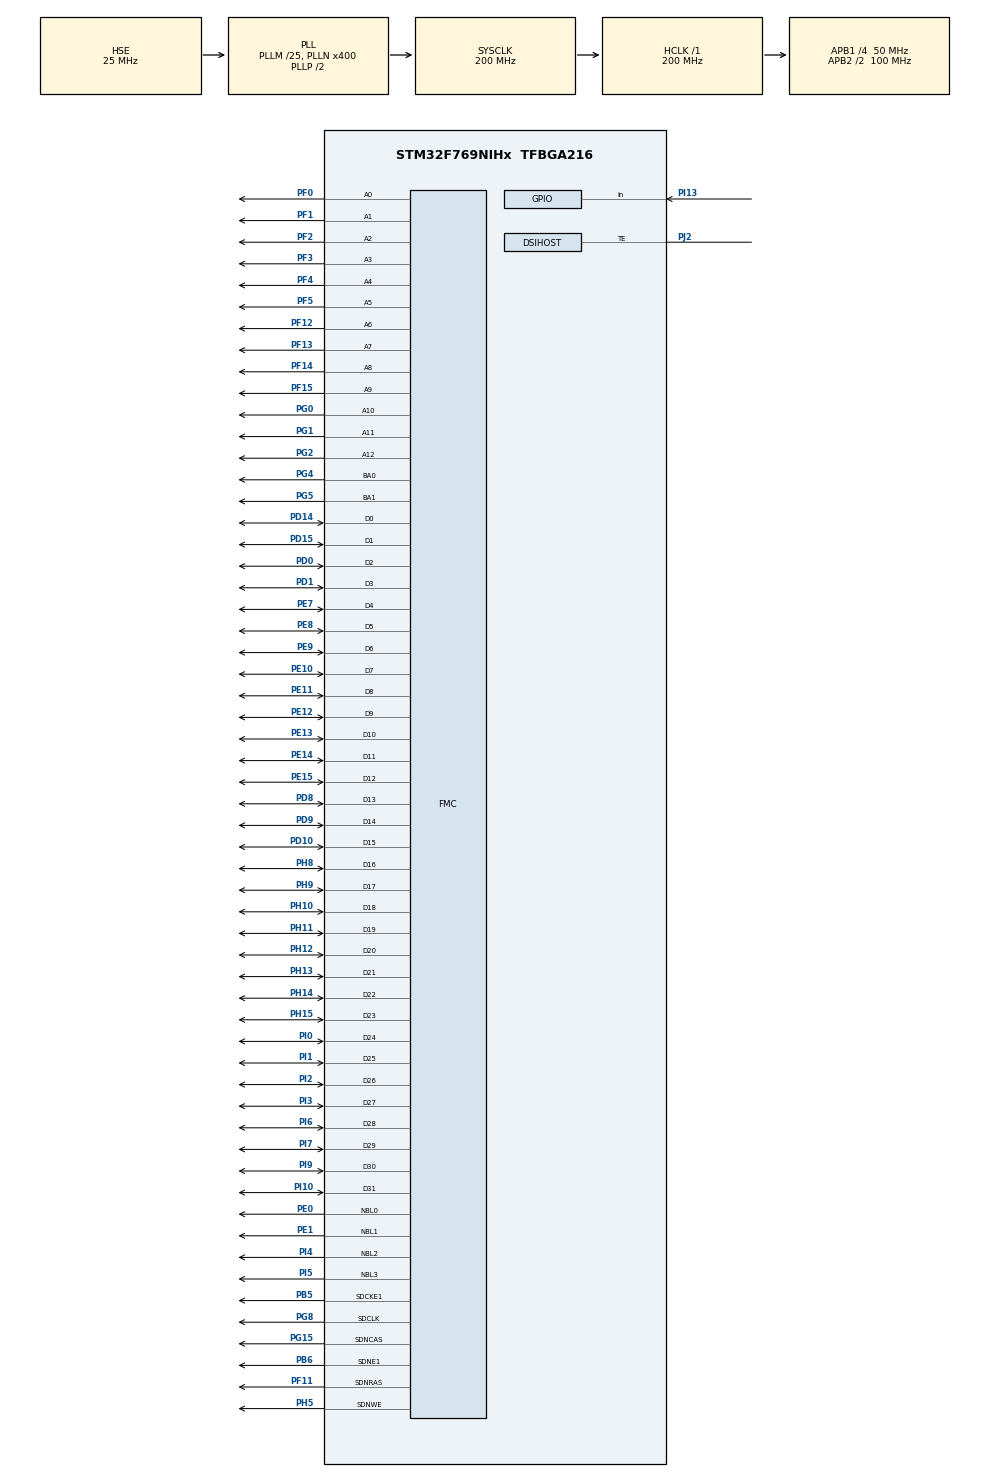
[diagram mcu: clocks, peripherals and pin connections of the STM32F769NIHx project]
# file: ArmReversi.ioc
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ADC1.Channel-0\#ChannelRegularConversion=ADC_CHANNEL_TEMPSENSOR
ADC1.ContinuousConvMode=ENABLE
ADC1.EOCSelection=ADC_EOC_SEQ_CONV
ADC1.NbrOfConversionFlag=1
ADC1.Rank-0\#ChannelRegularConversion=1
ADC1.SamplingTime-0\#ChannelRegularConversion=ADC_SAMPLETIME_56CYCLES
ADC1.master=1
CORTEX_M7.CPU_DCache=Enabled
CORTEX_M7.CPU_ICache=Enabled
DSIHOST_CKN.Mode=DSIHost_Adapted_TE
DSIHOST_CKN.Signal=DSIHOST_CKN
DSIHOST_CKP.Mode=DSIHost_Adapted_TE
DSIHOST_CKP.Signal=DSIHOST_CKP
DSIHOST_D0N.Mode=DSIHost_Adapted_TE
DSIHOST_D0N.Signal=DSIHOST_D0N
DSIHOST_D0P.Mode=DSIHost_Adapted_TE
DSIHOST_D0P.Signal=DSIHOST_D0P
DSIHOST_D1N.Mode=DSIHost_Adapted_TE
DSIHOST_D1N.Signal=DSIHOST_D1N
DSIHOST_D1P.Mode=DSIHost_Adapted_TE
DSIHOST_D1P.Signal=DSIHOST_D1P
Mcu.Family=STM32F7
Mcu.Name=STM32F769NIHx
Mcu.Package=TFBGA216
NVIC.PriorityGroup=NVIC_PRIORITYGROUP_4
NVIC.TIM6_DAC_IRQn=true\:0\:0\:false\:false\:true\:true\:true
PB5.Mode=SdramChipSelect2_1
PB5.Signal=FMC_SDCKE1
PB6.Mode=SdramChipSelect2_1
PB6.Signal=FMC_SDNE1
PD0.Signal=FMC_D2_DA2
PD1.Signal=FMC_D3_DA3
PD10.Signal=FMC_D15_DA15
PD14.Signal=FMC_D0_DA0
PD15.Signal=FMC_D1_DA1
PD8.Signal=FMC_D13_DA13
PD9.Signal=FMC_D14_DA14
PE0.Signal=FMC_NBL0
PE1.Signal=FMC_NBL1
PE10.Signal=FMC_D7_DA7
PE11.Signal=FMC_D8_DA8
PE12.Signal=FMC_D9_DA9
PE13.Signal=FMC_D10_DA10
PE14.Signal=FMC_D11_DA11
PE15.Signal=FMC_D12_DA12
PE7.Signal=FMC_D4_DA4
PE8.Signal=FMC_D5_DA5
PE9.Signal=FMC_D6_DA6
PF0.Signal=FMC_A0
PF1.Signal=FMC_A1
PF11.Signal=FMC_SDNRAS
PF12.Signal=FMC_A6
PF13.Signal=FMC_A7
PF14.Signal=FMC_A8
PF15.Signal=FMC_A9
PF2.Signal=FMC_A2
PF3.Signal=FMC_A3
PF4.Signal=FMC_A4
PF5.Signal=FMC_A5
PG0.Signal=FMC_A10
PG1.Signal=FMC_A11
PG15.Signal=FMC_SDNCAS
PG2.Signal=FMC_A12
PG4.Signal=FMC_A14_BA0
PG5.Signal=FMC_A15_BA1
PG8.Signal=FMC_SDCLK
PH0/OSC_IN.Mode=HSE-External-Oscillator
PH0/OSC_IN.Signal=RCC_OSC_IN
PH1/OSC_OUT.Mode=HSE-External-Oscillator
PH1/OSC_OUT.Signal=RCC_OSC_OUT
PH10.Signal=FMC_D18
PH11.Signal=FMC_D19
PH12.Signal=FMC_D20
PH13.Signal=FMC_D21
PH14.Signal=FMC_D22
PH15.Signal=FMC_D23
PH5.Signal=FMC_SDNWE
PH8.Signal=FMC_D16
PH9.Signal=FMC_D17
PI0.Signal=FMC_D24
PI1.Signal=FMC_D25
PI10.Signal=FMC_D31
PI13.Signal=GPIO_Input
PI2.Signal=FMC_D26
PI3.Signal=FMC_D27
PI4.Signal=FMC_NBL2
PI5.Signal=FMC_NBL3
PI6.Signal=FMC_D28
PI7.Signal=FMC_D29
PI9.Signal=FMC_D30
PJ2.Mode=DSIHost_Adapted_TE
PJ2.Signal=DSIHOST_TE
ProjectManager.HeapSize=0x200
ProjectManager.StackSize=0x400
ProjectManager.TargetToolchain=STM32CubeIDE
RCC.AHBFreq_Value=200000000
RCC.APB1CLKDivider=RCC_HCLK_DIV4
RCC.APB1Freq_Value=50000000
RCC.APB1TimFreq_Value=100000000
RCC.APB2CLKDivider=RCC_HCLK_DIV2
RCC.APB2Freq_Value=100000000
RCC.APB2TimFreq_Value=200000000
RCC.CortexFreq_Value=200000000
RCC.HCLKFreq_Value=200000000
RCC.HSE_VALUE=25000000
RCC.HSI_VALUE=16000000
RCC.LSE_VALUE=32768
RCC.PLLI2SN=96
RCC.PLLM=25
RCC.PLLN=400
RCC.PLLR=7
RCC.PLLSourceVirtual=RCC_PLLSOURCE_HSE
RCC.SYSCLKFreq_VALUE=200000000
RCC.SYSCLKSource=RCC_SYSCLKSOURCE_PLLCLK
RCC.USBFreq_Value=200000000
RCC.VCOOutputFreq_Value=400000000
SH.FMC_A0.0=FMC_A0,13b-sda1
SH.FMC_A1.0=FMC_A1,13b-sda1
SH.FMC_A10.0=FMC_A10,13b-sda1
SH.FMC_A11.0=FMC_A11,13b-sda1
SH.FMC_A12.0=FMC_A12,13b-sda1
SH.FMC_A14_BA0.0=FMC_BA0,FourSdramBanks1
SH.FMC_A15_BA1.0=FMC_BA1,FourSdramBanks1
SH.FMC_A2.0=FMC_A2,13b-sda1
SH.FMC_A3.0=FMC_A3,13b-sda1
SH.FMC_A4.0=FMC_A4,13b-sda1
SH.FMC_A5.0=FMC_A5,13b-sda1
SH.FMC_A6.0=FMC_A6,13b-sda1
SH.FMC_A7.0=FMC_A7,13b-sda1
SH.FMC_A8.0=FMC_A8,13b-sda1
SH.FMC_A9.0=FMC_A9,13b-sda1
SH.FMC_D0_DA0.0=FMC_D0,sd-32b-d1
SH.FMC_D10_DA10.0=FMC_D10,sd-32b-d1
SH.FMC_D11_DA11.0=FMC_D11,sd-32b-d1
SH.FMC_D12_DA12.0=FMC_D12,sd-32b-d1
SH.FMC_D13_DA13.0=FMC_D13,sd-32b-d1
SH.FMC_D14_DA14.0=FMC_D14,sd-32b-d1
SH.FMC_D15_DA15.0=FMC_D15,sd-32b-d1
SH.FMC_D16.0=FMC_D16,sd-32b-d1
SH.FMC_D17.0=FMC_D17,sd-32b-d1
SH.FMC_D18.0=FMC_D18,sd-32b-d1
SH.FMC_D19.0=FMC_D19,sd-32b-d1
SH.FMC_D1_DA1.0=FMC_D1,sd-32b-d1
SH.FMC_D20.0=FMC_D20,sd-32b-d1
SH.FMC_D21.0=FMC_D21,sd-32b-d1
SH.FMC_D22.0=FMC_D22,sd-32b-d1
SH.FMC_D23.0=FMC_D23,sd-32b-d1
SH.FMC_D24.0=FMC_D24,sd-32b-d1
SH.FMC_D25.0=FMC_D25,sd-32b-d1
SH.FMC_D26.0=FMC_D26,sd-32b-d1
SH.FMC_D27.0=FMC_D27,sd-32b-d1
SH.FMC_D28.0=FMC_D28,sd-32b-d1
SH.FMC_D29.0=FMC_D29,sd-32b-d1
SH.FMC_D2_DA2.0=FMC_D2,sd-32b-d1
SH.FMC_D30.0=FMC_D30,sd-32b-d1
SH.FMC_D31.0=FMC_D31,sd-32b-d1
SH.FMC_D3_DA3.0=FMC_D3,sd-32b-d1
SH.FMC_D4_DA4.0=FMC_D4,sd-32b-d1
SH.FMC_D5_DA5.0=FMC_D5,sd-32b-d1
SH.FMC_D6_DA6.0=FMC_D6,sd-32b-d1
SH.FMC_D7_DA7.0=FMC_D7,sd-32b-d1
SH.FMC_D8_DA8.0=FMC_D8,sd-32b-d1
SH.FMC_D9_DA9.0=FMC_D9,sd-32b-d1
SH.FMC_NBL0.0=FMC_NBL0,Sd4ByteEnable1
SH.FMC_NBL1.0=FMC_NBL1,Sd4ByteEnable1
SH.FMC_NBL2.0=FMC_NBL2,Sd4ByteEnable1
SH.FMC_NBL3.0=FMC_NBL3,Sd4ByteEnable1
SH.FMC_SDCLK.0=FMC_SDCLK,13b-sda1
SH.FMC_SDNCAS.0=FMC_SDNCAS,13b-sda1
SH.FMC_SDNRAS.0=FMC_SDNRAS,13b-sda1
SH.FMC_SDNWE.0=FMC_SDNWE,13b-sda1
TIM6.Period=9999
TIM6.Prescaler=9999
VP_ADC1_TempSens_Input.Mode=IN-TempSens
VP_DMA2D_VS_DMA2D.Mode=DMA2D_Activate
VP_LTDC_DSIMode.Mode=RGB888
VP_TIM6_VS_ClockSourceINT.Mode=Enable_Timer
board=STM32F769I-DISC1

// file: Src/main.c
/* USER CODE BEGIN Header */
/**
  ******************************************************************************
  * @file           : main.c
  * @brief          : Main program body
  ******************************************************************************
  * @attention
  *
  * <h2><center>&copy; Copyright (c) 2019 STMicroelectronics.
  * All rights reserved.</center></h2>
  *
  * This software component is licensed by ST under BSD 3-Clause license,
  * the "License"; You may not use this file except in compliance with the
  * License. You may obtain a copy of the License at:
  *                        opensource.org/licenses/BSD-3-Clause
  *
  ******************************************************************************
  */
/* USER CODE END Header */

#include "main.h"

/* USER CODE BEGIN Includes */
#include <stdio.h>
#include "stm32f769i_discovery.h"
#include "stm32f769i_discovery_lcd.h"
#include "stm32f769i_discovery_ts.h"
#include "stdbool.h"
/* USER CODE END Includes */

/* USER CODE BEGIN PD */
#define MAX_CONVERTED_VALUE   4095    /* Max converted value */
#define AMBIENT_TEMP            25    /* Ambient Temperature */
#define VSENS_AT_AMBIENT_TEMP  760    /* VSENSE value (mv) at ambient temperature */
#define AVG_SLOPE               25    /* Avg_Solpe multiply by 10 */
#define VREF                  3300
/* USER CODE END PD */

ADC_HandleTypeDef hadc1;

DMA2D_HandleTypeDef hdma2d;

DSI_HandleTypeDef hdsi;

LTDC_HandleTypeDef hltdc;

TIM_HandleTypeDef htim6;

SDRAM_HandleTypeDef hsdram1;

/* USER CODE BEGIN PV */
volatile uint8_t flag = 0;
volatile uint8_t counter = 0;
long int JTemp = 0;
char string[100];
uint32_t ConvertedValue;
/* USER CODE END PV */

void SystemClock_Config(void);
static void MX_GPIO_Init(void);
static void MX_ADC1_Init(void);
static void MX_DMA2D_Init(void);
static void MX_DSIHOST_DSI_Init(void);
static void MX_FMC_Init(void);
static void MX_LTDC_Init(void);
static void MX_TIM6_Init(void);
/* USER CODE BEGIN PFP */
static void LCD_Config();
/* USER CODE END PFP */

/* USER CODE BEGIN 0 */
void HAL_TIM_PeriodElapsedCallback (TIM_HandleTypeDef *htim)
{
	if(htim->Instance == TIM6)
	{
		flag = 1;
		counter++;

		  if (counter%2 == 0)
		  {
			  ConvertedValue=HAL_ADC_GetValue(&hadc1); //get value
			  JTemp = ((((ConvertedValue * VREF)/MAX_CONVERTED_VALUE) - VSENS_AT_AMBIENT_TEMP) * 10 / AVG_SLOPE) + AMBIENT_TEMP;
		  }
	}
}

void printBoardGame()
{
	  BSP_LCD_SetTextColor(LCD_COLOR_WHITE);
	  BSP_LCD_FillRect(BSP_LCD_GetXSize()/10, BSP_LCD_GetYSize()/10, 400, 400);
	  BSP_LCD_SetTextColor(0x800080);

	  for(int i = 0; i<=8; i++)
	  {
		  BSP_LCD_DrawVLine(BSP_LCD_GetXSize()/2.10 + (BSP_LCD_GetXSize()/16)*i, BSP_LCD_GetYSize()/10, 400);
	  }
	  for(int j = 0; j<=8; j++){
		  BSP_LCD_DrawHLine(BSP_LCD_GetXSize()/2.10, BSP_LCD_GetYSize()/10 + (BSP_LCD_GetYSize()/9.6)*j, 400);
	  }
	  //BSP_LCD_SetTextColor(LCD_COLOR_BLACK);
}

void printScoreTable()
{
	   BSP_LCD_DrawVLine(10, 50, 375);
	   BSP_LCD_DrawHLine(10, 50, 350);
	   BSP_LCD_DrawHLine(10, 85, 350);
	   BSP_LCD_DrawHLine(10, 425, 350);
	   BSP_LCD_DrawVLine(360, 50, 375);
	   BSP_LCD_SetTextColor(LCD_COLOR_DARKBLUE);

	   sprintf(string, "Game Info");
	   	  BSP_LCD_SetFont(&Font24);
	   	  BSP_LCD_DisplayStringAt(90,55 , (uint8_t *)string, LEFT_MODE);
}

/* USER CODE END 0 */

int main(void)
{

  /* Enable I-Cache---------------------------------------------------------*/
  SCB_EnableICache();

  /* Enable D-Cache---------------------------------------------------------*/
  SCB_EnableDCache();

  /* MCU Configuration--------------------------------------------------------*/

  /* Reset of all peripherals, Initializes the Flash interface and the Systick. */
  HAL_Init();

  /* Configure the system clock */
  SystemClock_Config();

  /* Initialize all configured peripherals */
  MX_GPIO_Init();
  MX_ADC1_Init();
  MX_DMA2D_Init();
  MX_DSIHOST_DSI_Init();
  MX_FMC_Init();
  MX_LTDC_Init();
  MX_TIM6_Init();
  /* USER CODE BEGIN 2 */
  BSP_LED_Init(LED_GREEN);
  BSP_LED_Init(LED_RED);
  HAL_ADC_Start(&hadc1);
  HAL_TIM_Base_Start_IT(&htim6);
  LCD_Config();
  printBoardGame();
  printScoreTable();
  BSP_PB_Init(BUTTON_WAKEUP, BUTTON_MODE_GPIO); //Button to use to go back to the menu

  /* USER CODE END 2 */

  /* Infinite loop */
  /* USER CODE BEGIN WHILE */

  while (1)
  {
	  sprintf(string, "Temp: %ld C", JTemp);
	  BSP_LCD_SetFont(&Font12);
	  BSP_LCD_DisplayStringAt(0, BSP_LCD_GetYSize()/2 + 200, (uint8_t *)string, LEFT_MODE);

	  sprintf(string, "Time: %d s", counter);
	  BSP_LCD_SetFont(&Font12);
	  BSP_LCD_DisplayStringAt(0, BSP_LCD_GetYSize()/2 + 215, (uint8_t *)string, LEFT_MODE);

    /* USER CODE END WHILE */

    /* USER CODE BEGIN 3 */
  }//end of while

  /* USER CODE END 3 */
}

void SystemClock_Config(void)
{
  RCC_OscInitTypeDef RCC_OscInitStruct = {0};
  RCC_ClkInitTypeDef RCC_ClkInitStruct = {0};
  RCC_PeriphCLKInitTypeDef PeriphClkInitStruct = {0};

  /** Configure the main internal regulator output voltage
  */
  __HAL_RCC_PWR_CLK_ENABLE();
  __HAL_PWR_VOLTAGESCALING_CONFIG(PWR_REGULATOR_VOLTAGE_SCALE1);
  /** Initializes the CPU, AHB and APB busses clocks
  */
  RCC_OscInitStruct.OscillatorType = RCC_OSCILLATORTYPE_HSE;
  RCC_OscInitStruct.HSEState = RCC_HSE_ON;
  RCC_OscInitStruct.PLL.PLLState = RCC_PLL_ON;
  RCC_OscInitStruct.PLL.PLLSource = RCC_PLLSOURCE_HSE;
  RCC_OscInitStruct.PLL.PLLM = 25;
  RCC_OscInitStruct.PLL.PLLN = 400;
  RCC_OscInitStruct.PLL.PLLP = RCC_PLLP_DIV2;
  RCC_OscInitStruct.PLL.PLLQ = 2;
  if (HAL_RCC_OscConfig(&RCC_OscInitStruct) != HAL_OK)
  {
    Error_Handler();
  }
  /** Activate the Over-Drive mode
  */
  if (HAL_PWREx_EnableOverDrive() != HAL_OK)
  {
    Error_Handler();
  }
  /** Initializes the CPU, AHB and APB busses clocks
  */
  RCC_ClkInitStruct.ClockType = RCC_CLOCKTYPE_HCLK|RCC_CLOCKTYPE_SYSCLK
                              |RCC_CLOCKTYPE_PCLK1|RCC_CLOCKTYPE_PCLK2;
  RCC_ClkInitStruct.SYSCLKSource = RCC_SYSCLKSOURCE_PLLCLK;
  RCC_ClkInitStruct.AHBCLKDivider = RCC_SYSCLK_DIV1;
  RCC_ClkInitStruct.APB1CLKDivider = RCC_HCLK_DIV4;
  RCC_ClkInitStruct.APB2CLKDivider = RCC_HCLK_DIV2;

  if (HAL_RCC_ClockConfig(&RCC_ClkInitStruct, FLASH_LATENCY_6) != HAL_OK)
  {
    Error_Handler();
  }
  PeriphClkInitStruct.PeriphClockSelection = RCC_PERIPHCLK_LTDC;
  PeriphClkInitStruct.PLLSAI.PLLSAIN = 192;
  PeriphClkInitStruct.PLLSAI.PLLSAIR = 2;
  PeriphClkInitStruct.PLLSAI.PLLSAIQ = 2;
  PeriphClkInitStruct.PLLSAI.PLLSAIP = RCC_PLLSAIP_DIV2;
  PeriphClkInitStruct.PLLSAIDivQ = 1;
  PeriphClkInitStruct.PLLSAIDivR = RCC_PLLSAIDIVR_2;
  if (HAL_RCCEx_PeriphCLKConfig(&PeriphClkInitStruct) != HAL_OK)
  {
    Error_Handler();
  }
}

static void MX_ADC1_Init(void)
{

  ADC_ChannelConfTypeDef sConfig = {0};

  /** Configure the global features of the ADC (Clock, Resolution, Data Alignment and number of conversion)
  */
  hadc1.Instance = ADC1;
  hadc1.Init.ClockPrescaler = ADC_CLOCK_SYNC_PCLK_DIV4;
  hadc1.Init.Resolution = ADC_RESOLUTION_12B;
  hadc1.Init.ScanConvMode = DISABLE;
  hadc1.Init.ContinuousConvMode = ENABLE;
  hadc1.Init.DiscontinuousConvMode = DISABLE;
  hadc1.Init.ExternalTrigConvEdge = ADC_EXTERNALTRIGCONVEDGE_NONE;
  hadc1.Init.ExternalTrigConv = ADC_SOFTWARE_START;
  hadc1.Init.DataAlign = ADC_DATAALIGN_RIGHT;
  hadc1.Init.NbrOfConversion = 1;
  hadc1.Init.DMAContinuousRequests = DISABLE;
  hadc1.Init.EOCSelection = ADC_EOC_SEQ_CONV;
  if (HAL_ADC_Init(&hadc1) != HAL_OK)
  {
    Error_Handler();
  }
  /** Configure for the selected ADC regular channel its corresponding rank in the sequencer and its sample time.
  */
  sConfig.Channel = ADC_CHANNEL_TEMPSENSOR;
  sConfig.Rank = ADC_REGULAR_RANK_1;
  sConfig.SamplingTime = ADC_SAMPLETIME_56CYCLES;
  if (HAL_ADC_ConfigChannel(&hadc1, &sConfig) != HAL_OK)
  {
    Error_Handler();
  }

}

static void MX_DMA2D_Init(void)
{

  hdma2d.Instance = DMA2D;
  hdma2d.Init.Mode = DMA2D_M2M;
  hdma2d.Init.ColorMode = DMA2D_OUTPUT_ARGB8888;
  hdma2d.Init.OutputOffset = 0;
  hdma2d.LayerCfg[1].InputOffset = 0;
  hdma2d.LayerCfg[1].InputColorMode = DMA2D_INPUT_ARGB8888;
  hdma2d.LayerCfg[1].AlphaMode = DMA2D_NO_MODIF_ALPHA;
  hdma2d.LayerCfg[1].InputAlpha = 0;
  hdma2d.LayerCfg[1].AlphaInverted = DMA2D_REGULAR_ALPHA;
  hdma2d.LayerCfg[1].RedBlueSwap = DMA2D_RB_REGULAR;
  if (HAL_DMA2D_Init(&hdma2d) != HAL_OK)
  {
    Error_Handler();
  }
  if (HAL_DMA2D_ConfigLayer(&hdma2d, 1) != HAL_OK)
  {
    Error_Handler();
  }

}

static void MX_DSIHOST_DSI_Init(void)
{

  DSI_PLLInitTypeDef PLLInit = {0};
  DSI_HOST_TimeoutTypeDef HostTimeouts = {0};
  DSI_PHY_TimerTypeDef PhyTimings = {0};
  DSI_LPCmdTypeDef LPCmd = {0};
  DSI_CmdCfgTypeDef CmdCfg = {0};

  hdsi.Instance = DSI;
  hdsi.Init.AutomaticClockLaneControl = DSI_AUTO_CLK_LANE_CTRL_DISABLE;
  hdsi.Init.TXEscapeCkdiv = 4;
  hdsi.Init.NumberOfLanes = DSI_ONE_DATA_LANE;
  PLLInit.PLLNDIV = 20;
  PLLInit.PLLIDF = DSI_PLL_IN_DIV1;
  PLLInit.PLLODF = DSI_PLL_OUT_DIV1;
  if (HAL_DSI_Init(&hdsi, &PLLInit) != HAL_OK)
  {
    Error_Handler();
  }
  HostTimeouts.TimeoutCkdiv = 1;
  HostTimeouts.HighSpeedTransmissionTimeout = 0;
  HostTimeouts.LowPowerReceptionTimeout = 0;
  HostTimeouts.HighSpeedReadTimeout = 0;
  HostTimeouts.LowPowerReadTimeout = 0;
  HostTimeouts.HighSpeedWriteTimeout = 0;
  HostTimeouts.HighSpeedWritePrespMode = DSI_HS_PM_DISABLE;
  HostTimeouts.LowPowerWriteTimeout = 0;
  HostTimeouts.BTATimeout = 0;
  if (HAL_DSI_ConfigHostTimeouts(&hdsi, &HostTimeouts) != HAL_OK)
  {
    Error_Handler();
  }
  PhyTimings.ClockLaneHS2LPTime = 28;
  PhyTimings.ClockLaneLP2HSTime = 33;
  PhyTimings.DataLaneHS2LPTime = 15;
  PhyTimings.DataLaneLP2HSTime = 25;
  PhyTimings.DataLaneMaxReadTime = 0;
  PhyTimings.StopWaitTime = 0;
  if (HAL_DSI_ConfigPhyTimer(&hdsi, &PhyTimings) != HAL_OK)
  {
    Error_Handler();
  }
  if (HAL_DSI_ConfigFlowControl(&hdsi, DSI_FLOW_CONTROL_BTA) != HAL_OK)
  {
    Error_Handler();
  }
  if (HAL_DSI_SetLowPowerRXFilter(&hdsi, 10000) != HAL_OK)
  {
    Error_Handler();
  }
  if (HAL_DSI_ConfigErrorMonitor(&hdsi, HAL_DSI_ERROR_NONE) != HAL_OK)
  {
    Error_Handler();
  }
  LPCmd.LPGenShortWriteNoP = DSI_LP_GSW0P_DISABLE;
  LPCmd.LPGenShortWriteOneP = DSI_LP_GSW1P_DISABLE;
  LPCmd.LPGenShortWriteTwoP = DSI_LP_GSW2P_DISABLE;
  LPCmd.LPGenShortReadNoP = DSI_LP_GSR0P_DISABLE;
  LPCmd.LPGenShortReadOneP = DSI_LP_GSR1P_DISABLE;
  LPCmd.LPGenShortReadTwoP = DSI_LP_GSR2P_DISABLE;
  LPCmd.LPGenLongWrite = DSI_LP_GLW_DISABLE;
  LPCmd.LPDcsShortWriteNoP = DSI_LP_DSW0P_DISABLE;
  LPCmd.LPDcsShortWriteOneP = DSI_LP_DSW1P_DISABLE;
  LPCmd.LPDcsShortReadNoP = DSI_LP_DSR0P_DISABLE;
  LPCmd.LPDcsLongWrite = DSI_LP_DLW_DISABLE;
  LPCmd.LPMaxReadPacket = DSI_LP_MRDP_DISABLE;
  LPCmd.AcknowledgeRequest = DSI_ACKNOWLEDGE_DISABLE;
  if (HAL_DSI_ConfigCommand(&hdsi, &LPCmd) != HAL_OK)
  {
    Error_Handler();
  }
  CmdCfg.VirtualChannelID = 0;
  CmdCfg.ColorCoding = DSI_RGB888;
  CmdCfg.CommandSize = 640;
  CmdCfg.TearingEffectSource = DSI_TE_EXTERNAL;
  CmdCfg.TearingEffectPolarity = DSI_TE_RISING_EDGE;
  CmdCfg.HSPolarity = DSI_HSYNC_ACTIVE_LOW;
  CmdCfg.VSPolarity = DSI_VSYNC_ACTIVE_LOW;
  CmdCfg.DEPolarity = DSI_DATA_ENABLE_ACTIVE_HIGH;
  CmdCfg.VSyncPol = DSI_VSYNC_FALLING;
  CmdCfg.AutomaticRefresh = DSI_AR_ENABLE;
  CmdCfg.TEAcknowledgeRequest = DSI_TE_ACKNOWLEDGE_DISABLE;
  if (HAL_DSI_ConfigAdaptedCommandMode(&hdsi, &CmdCfg) != HAL_OK)
  {
    Error_Handler();
  }
  if (HAL_DSI_SetGenericVCID(&hdsi, 0) != HAL_OK)
  {
    Error_Handler();
  }

}

static void MX_LTDC_Init(void)
{

  LTDC_LayerCfgTypeDef pLayerCfg = {0};
  LTDC_LayerCfgTypeDef pLayerCfg1 = {0};

  hltdc.Instance = LTDC;
  hltdc.Init.HSPolarity = LTDC_HSPOLARITY_AL;
  hltdc.Init.VSPolarity = LTDC_VSPOLARITY_AL;
  hltdc.Init.DEPolarity = LTDC_DEPOLARITY_AL;
  hltdc.Init.PCPolarity = LTDC_PCPOLARITY_IPC;
  hltdc.Init.HorizontalSync = 7;
  hltdc.Init.VerticalSync = 3;
  hltdc.Init.AccumulatedHBP = 14;
  hltdc.Init.AccumulatedVBP = 5;
  hltdc.Init.AccumulatedActiveW = 654;
  hltdc.Init.AccumulatedActiveH = 485;
  hltdc.Init.TotalWidth = 660;
  hltdc.Init.TotalHeigh = 487;
  hltdc.Init.Backcolor.Blue = 0;
  hltdc.Init.Backcolor.Green = 0;
  hltdc.Init.Backcolor.Red = 0;
  if (HAL_LTDC_Init(&hltdc) != HAL_OK)
  {
    Error_Handler();
  }
  pLayerCfg.WindowX0 = 0;
  pLayerCfg.WindowX1 = 0;
  pLayerCfg.WindowY0 = 0;
  pLayerCfg.WindowY1 = 0;
  pLayerCfg.PixelFormat = LTDC_PIXEL_FORMAT_ARGB8888;
  pLayerCfg.Alpha = 0;
  pLayerCfg.Alpha0 = 0;
  pLayerCfg.BlendingFactor1 = LTDC_BLENDING_FACTOR1_CA;
  pLayerCfg.BlendingFactor2 = LTDC_BLENDING_FACTOR2_CA;
  pLayerCfg.FBStartAdress = 0;
  pLayerCfg.ImageWidth = 0;
  pLayerCfg.ImageHeight = 0;
  pLayerCfg.Backcolor.Blue = 0;
  pLayerCfg.Backcolor.Green = 0;
  pLayerCfg.Backcolor.Red = 0;
  if (HAL_LTDC_ConfigLayer(&hltdc, &pLayerCfg, 0) != HAL_OK)
  {
    Error_Handler();
  }
  pLayerCfg1.WindowX0 = 0;
  pLayerCfg1.WindowX1 = 0;
  pLayerCfg1.WindowY0 = 0;
  pLayerCfg1.WindowY1 = 0;
  pLayerCfg1.PixelFormat = LTDC_PIXEL_FORMAT_ARGB8888;
  pLayerCfg1.Alpha = 0;
  pLayerCfg1.Alpha0 = 0;
  pLayerCfg1.BlendingFactor1 = LTDC_BLENDING_FACTOR1_CA;
  pLayerCfg1.BlendingFactor2 = LTDC_BLENDING_FACTOR2_CA;
  pLayerCfg1.FBStartAdress = 0;
  pLayerCfg1.ImageWidth = 0;
  pLayerCfg1.ImageHeight = 0;
  pLayerCfg1.Backcolor.Blue = 0;
  pLayerCfg1.Backcolor.Green = 0;
  pLayerCfg1.Backcolor.Red = 0;
  if (HAL_LTDC_ConfigLayer(&hltdc, &pLayerCfg1, 1) != HAL_OK)
  {
    Error_Handler();
  }

}

static void MX_TIM6_Init(void)
{

  TIM_MasterConfigTypeDef sMasterConfig = {0};

  htim6.Instance = TIM6;
  htim6.Init.Prescaler = 9999;
  htim6.Init.CounterMode = TIM_COUNTERMODE_UP;
  htim6.Init.Period = 9999;
  htim6.Init.AutoReloadPreload = TIM_AUTORELOAD_PRELOAD_DISABLE;
  if (HAL_TIM_Base_Init(&htim6) != HAL_OK)
  {
    Error_Handler();
  }
  sMasterConfig.MasterOutputTrigger = TIM_TRGO_RESET;
  sMasterConfig.MasterSlaveMode = TIM_MASTERSLAVEMODE_DISABLE;
  if (HAL_TIMEx_MasterConfigSynchronization(&htim6, &sMasterConfig) != HAL_OK)
  {
    Error_Handler();
  }

}

/* FMC initialization function */
static void MX_FMC_Init(void)
{

  FMC_SDRAM_TimingTypeDef SdramTiming = {0};

  /** Perform the SDRAM1 memory initialization sequence
  */
  hsdram1.Instance = FMC_SDRAM_DEVICE;
  /* hsdram1.Init */
  hsdram1.Init.SDBank = FMC_SDRAM_BANK2;
  hsdram1.Init.ColumnBitsNumber = FMC_SDRAM_COLUMN_BITS_NUM_8;
  hsdram1.Init.RowBitsNumber = FMC_SDRAM_ROW_BITS_NUM_13;
  hsdram1.Init.MemoryDataWidth = FMC_SDRAM_MEM_BUS_WIDTH_32;
  hsdram1.Init.InternalBankNumber = FMC_SDRAM_INTERN_BANKS_NUM_4;
  hsdram1.Init.CASLatency = FMC_SDRAM_CAS_LATENCY_1;
  hsdram1.Init.WriteProtection = FMC_SDRAM_WRITE_PROTECTION_DISABLE;
  hsdram1.Init.SDClockPeriod = FMC_SDRAM_CLOCK_DISABLE;
  hsdram1.Init.ReadBurst = FMC_SDRAM_RBURST_DISABLE;
  hsdram1.Init.ReadPipeDelay = FMC_SDRAM_RPIPE_DELAY_0;
  /* SdramTiming */
  SdramTiming.LoadToActiveDelay = 16;
  SdramTiming.ExitSelfRefreshDelay = 16;
  SdramTiming.SelfRefreshTime = 16;
  SdramTiming.RowCycleDelay = 16;
  SdramTiming.WriteRecoveryTime = 16;
  SdramTiming.RPDelay = 16;
  SdramTiming.RCDDelay = 16;

  if (HAL_SDRAM_Init(&hsdram1, &SdramTiming) != HAL_OK)
  {
    Error_Handler( );
  }

}

static void MX_GPIO_Init(void)
{
  GPIO_InitTypeDef GPIO_InitStruct = {0};

  /* GPIO Ports Clock Enable */
  __HAL_RCC_GPIOE_CLK_ENABLE();
  __HAL_RCC_GPIOB_CLK_ENABLE();
  __HAL_RCC_GPIOG_CLK_ENABLE();
  __HAL_RCC_GPIOD_CLK_ENABLE();
  __HAL_RCC_GPIOI_CLK_ENABLE();
  __HAL_RCC_GPIOF_CLK_ENABLE();
  __HAL_RCC_GPIOH_CLK_ENABLE();
  __HAL_RCC_GPIOJ_CLK_ENABLE();

  /*Configure GPIO pin : PI13 */
  GPIO_InitStruct.Pin = GPIO_PIN_13;
  GPIO_InitStruct.Mode = GPIO_MODE_INPUT;
  GPIO_InitStruct.Pull = GPIO_NOPULL;
  HAL_GPIO_Init(GPIOI, &GPIO_InitStruct);

}

/* USER CODE BEGIN 4 */
static void LCD_Config(void)
{
  uint32_t  lcd_status = LCD_OK;

  /* Initialize the LCD */
  lcd_status = BSP_LCD_Init();
  while(lcd_status != LCD_OK);

  BSP_LCD_LayerDefaultInit(0, LCD_FB_START_ADDRESS);

  /* Clear the LCD */
  BSP_LCD_Clear(LCD_COLOR_WHITE);

  /* Set LCD Example description */
  BSP_LCD_SetTextColor(LCD_COLOR_DARKBLUE);
  BSP_LCD_SetFont(&Font12);
  BSP_LCD_DisplayStringAt(0, BSP_LCD_GetYSize()- 20, (uint8_t *)"company holy fathers", CENTER_MODE);
  BSP_LCD_SetTextColor(LCD_COLOR_CYAN);
  BSP_LCD_FillRect(0, 0, BSP_LCD_GetXSize(), 35);
  BSP_LCD_SetTextColor(LCD_COLOR_WHITE);
  BSP_LCD_SetBackColor(LCD_COLOR_CYAN);
  BSP_LCD_SetFont(&Font24);
  BSP_LCD_DisplayStringAt(0, 10, (uint8_t *)"The Reversi", CENTER_MODE);

  BSP_LCD_SetTextColor(LCD_COLOR_BLACK);
  BSP_LCD_SetBackColor(LCD_COLOR_WHITE);
  BSP_LCD_SetFont(&Font24);
}
/* USER CODE END 4 */

void Error_Handler(void)
{
}

/************************ (C) COPYRIGHT STMicroelectronics *****END OF FILE****/
